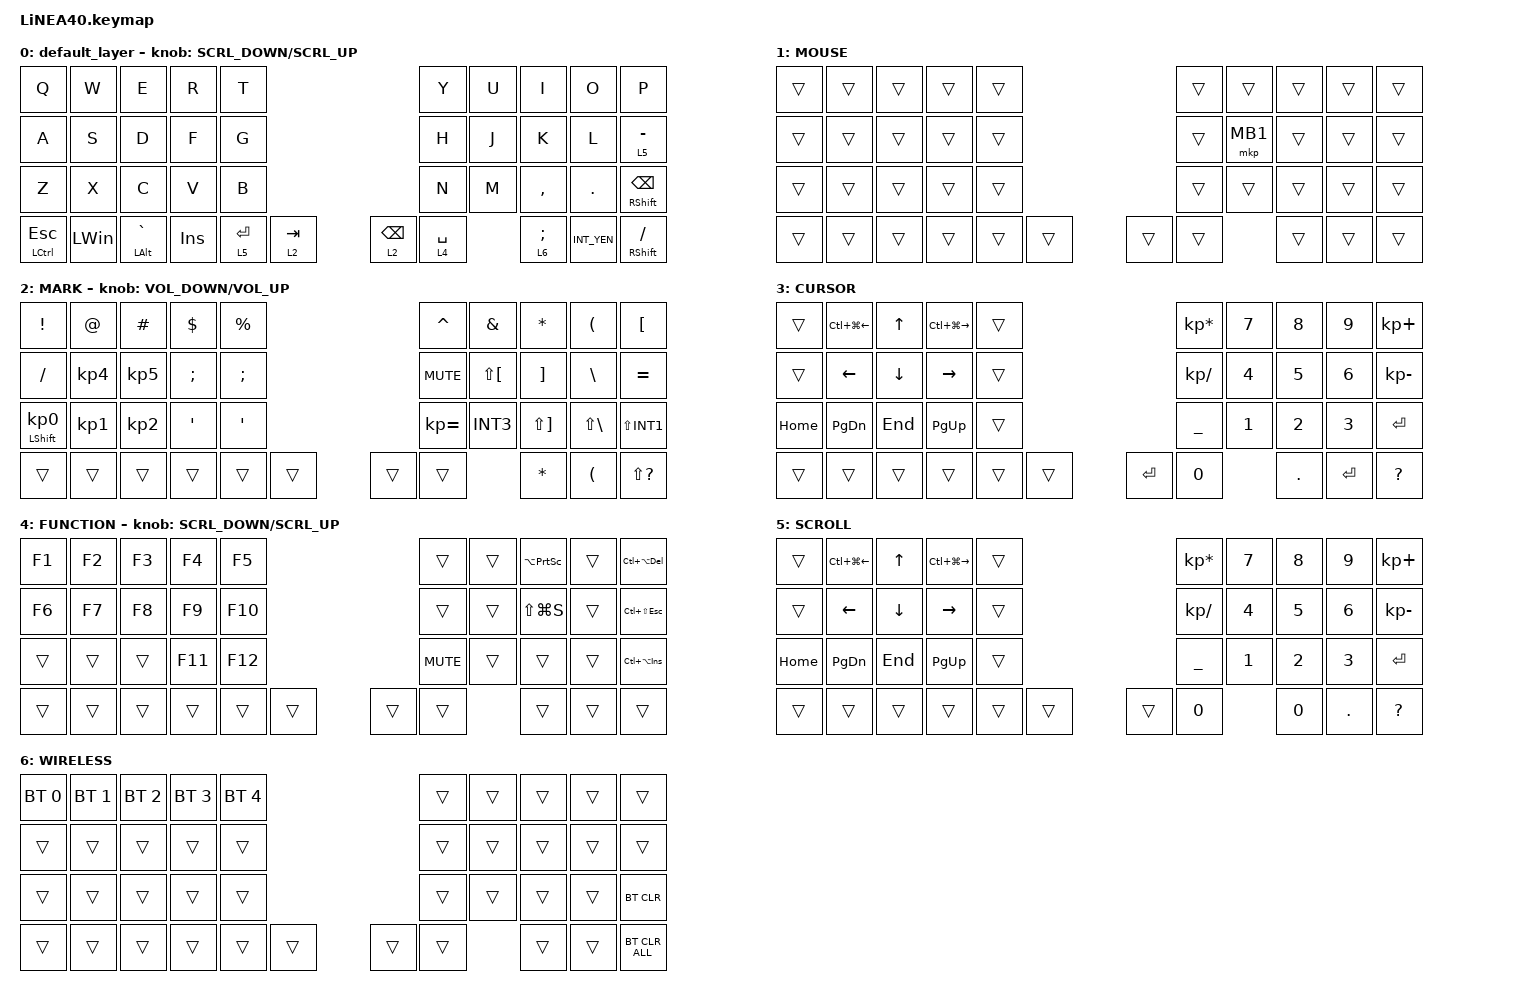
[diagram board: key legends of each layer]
#include <behaviors.dtsi>
#include <dt-bindings/zmk/bt.h>
#include <dt-bindings/zmk/pointing.h>
#include <dt-bindings/zmk/input_transform.h>
#include <input/processors.dtsi>
#include <zephyr/dt-bindings/input/input-event-codes.h>

#undef ZMK_POINTING_DEFAULT_SCRL_VAL
#define ZMK_POINTING_DEFAULT_SCRL_VAL 300 // ★ここを150➡300 くらいに増やしてください

#define MOUSE 1
#define MARK 2
#define CURSOR 3
#define FUNCTION 4
#define SCROLL 5
#define WIRELESS 6

// OS設定を日本語キーボードのまま使用するための変換定義
#define JP_DQUOTE       AT                // "
#define JP_AMPERSAND    CARET              // &
#define JP_QUOTE        AMPERSAND          // '
#define JP_EQUAL        UNDER              // =
#define JP_CARET        EQUAL              // ^
#define JP_YEN          0x89              // ¥
#define JP_PLUS         COLON              // +
#define JP_TILDE        PLUS              // ~
#define JP_PIPE         LS(0x89)          // |
#define JP_AT           LEFT_BRACKET      // @
#define JP_COLON        SINGLE_QUOTE      // :
#define JP_ASTERISK     DOUBLE_QUOTES     // *
#define JP_BACKQUOTE    LEFT_BRACE        // `
#define JP_UNDERSCORE   LS(0x87)          // _
#define JP_LBRACKET     RIGHT_BRACKET      // [
#define JP_RBRACKET     BACKSLASH          // ]
#define JP_LPAREN       ASTERISK          // (
#define JP_RPAREN       LEFT_PARENTHESIS  // )
#define JP_LBRACE       RIGHT_BRACE        // {
#define JP_RBRACE       PIPE              // }
#define JP_KANA         LANGUAGE_1        // かな
#define JP_EISU         LANGUAGE_2        // 英数
#define JP_HANZEN       GRAVE             // 半角/全角

//mouse cursol
&mmv {
    delay-ms = <20>;
    trigger-period-ms = <5>;
    time-to-max-speed-ms = <20>;
    acceleration-exponent = <1>;
};

//mouse scroll
// mouse scroll: Studioと干渉しにくい設定へ微調整
&msc {
    delay-ms = <0>;
    trigger-period-ms = <1>; 
    time-to-max-speed-ms = <0>; // 加速を排除
    acceleration-exponent = <0>;
};

/ {
    input_processors {
        zip_wheel_scaler: zip_wheel_scaler {
            compatible = "zmk,input-processor-scaler";
            #input-processor-cells = <2>;
            type = <INPUT_EV_REL>;
            codes = <INPUT_REL_WHEEL>, <INPUT_REL_HWHEEL>; // 垂直・水平両方対象
            //track-remainders; //端数の持越し
        };

        /* 最終出口でスクロールを1/12に薄めるプロセッサ */
        scroll_final_filter: scroll_final_filter {
            compatible = "zmk,input-processor-scaler";
            #input-processor-cells = <2>;
            type = <INPUT_EV_REL>;
            codes = <INPUT_REL_WHEEL>, <INPUT_REL_HWHEEL>; // スクロール信号のみ対象
            /* track-remainders; をあえて削除します */
            /* これにより、微細なゴミ信号を捨て、リアルタイムな応答性を優先します */
        };
    };
};

/* 一旦コメントアウト
&msc_input_listener {
    speed_up {
        layers = <FUNCTION>;
        input-processors = <&zip_wheel_scaler 3 1>; //スクロールを3倍速にする
    };
};
*/

&trackball_peripheral {
    input-processors = <&zip_xy_transform INPUT_TRANSFORM_Y_INVERT>;
};


&trackball_listener {
    status = "okay"; // ★リスナーを有効化して .keymap の設定を反映させる

    /* GUIが作った信号も含め、全てのスクロール信号を最後に1/12にする */
    /* 1 12 ではなく 1 1 (等倍) にして、調整はDYA Studioに任せる */
    input-processors = <&scroll_final_filter 1 1>;

    scroller {
        layers = <5>; 
        input-processors = <&zip_xy_to_scroll_mapper>;
    };
};


/ {
    /* DYA Studio 用のエンコーダープロセッサ定義（左右共通） */
        left_encoder_proc: left_encoder_proc {
            compatible = "zmk,behavior-runtime-sensor-rotate";
            #sensor-binding-cells = <0>;
        };

        combos {
        compatible = "zmk,combos";

        ZenkakuHankaku {
            bindings = <&kp GRAVE>;
            key-positions = <11 12>;
        };

        DeleteKey {
            bindings = <&kp DEL>;
            key-positions = <7 8>;
        };

        InsertKey {
            bindings = <&kp INS>;
            key-positions = <6 7>;
        };

        CenterClick {
            bindings = <&mkp MB3>;
            key-positions = <17 16>;
        };

        RightClick {
            bindings = <&mkp MB2>;
            key-positions = <18 17>;
        };

        PrevClick {
            bindings = <&mkp MB4>;
            key-positions = <27 28>;
        };

        ClickNext {
            bindings = <&mkp MB5>;
            key-positions = <26 27>;
        };

    };

    behaviors {
        re_kp: sensor_rotate_kp {
            compatible = "zmk,behavior-sensor-rotate-var";
            #sensor-binding-cells = <2>;
            /* 1ノッチで &msc を「3回」連続発行する力技です */
            bindings = <&msc SCRL_DOWN &msc SCRL_DOWN &msc SCRL_DOWN>, 
                       <&msc SCRL_UP &msc SCRL_UP &msc SCRL_UP>;
        };

        mouse_scrl: mouse_wheel_scrl {
            compatible = "zmk,behavior-sensor-rotate-var";
            #sensor-binding-cells = <2>;
            /* SCRL_2D を使い、OSの「行」という概念を飛び越えて、
               ダイレクトに「移動ピクセル数」に近い信号を叩き込みます。
               第1引数(0)は水平、第2引数(1200)が垂直方向の移動量です。 */
            //bindings = <&msc SCRL_2D(0,1200)>, <&msc SCRL_2D(0,-1200)>;
            bindings = <&msc>, <&msc>;
            //tap-ms = <20>;
            tap-ms = <0>;
        };
    };

    keymap {
        compatible = "zmk,keymap";

        default_layer {
            bindings = <
                &kp Q          &kp W         &kp E                &kp R    &kp T                                    &kp Y        &kp U     &kp I            &kp O        &kp P
                &kp A          &kp S         &kp D                &kp F    &kp G                                    &kp H        &kp J     &kp K            &kp L        &lt 5 MINUS
                &kp Z          &kp X         &kp C                &kp V    &kp B                                    &kp N        &kp M     &kp COMMA        &kp DOT      &mt RIGHT_SHIFT BACKSPACE
                &mt LCTRL ESC  &kp LEFT_WIN  &mt LEFT_ALT GRAVE  &kp INS  &lt 5 ENTER  &lt 2 TAB  &lt 2 BACKSPACE  &lt 4 SPACE            &lt 6 SEMICOLON  &kp INT_YEN  &mt RIGHT_SHIFT SLASH
            >;
            sensor-bindings = <&mouse_scrl SCRL_DOWN SCRL_UP>; 
            // ※ &left_encoder_proc から変更。これで behaviors の mouse_scrl が動き出します。
        };

        //1
        MOUSE {
            bindings = <
                &trans  &trans  &trans  &trans  &trans                    &trans  &trans    &trans  &trans  &trans
                &trans  &trans  &trans  &trans  &trans                    &trans  &mkp MB1  &trans  &trans  &trans
                &trans  &trans  &trans  &trans  &trans                    &trans  &trans    &trans  &trans  &trans
                &trans  &trans  &trans  &trans  &trans  &trans    &trans  &trans            &trans  &trans  &trans
            >;
        };

        //2
        MARK {
            bindings = <
                &kp EXCLAMATION             &kp AT           &kp HASH         &kp DOLLAR     &kp PERCENT                                          &kp CARET     &kp AMPERSAND  &kp ASTERISK           &kp LEFT_PARENTHESIS  &kp LBKT
                &kp SLASH                   &kp KP_NUMBER_4  &kp KP_NUMBER_5  &kp SEMICOLON  &kp SEMICOLON                                        &kp C_MUTE    &kp LS(LBKT)   &kp RIGHT_BRACKET      &kp BACKSLASH         &kp EQUAL
                &mt LEFT_SHIFT KP_NUMBER_0  &kp KP_NUMBER_1  &kp KP_NUMBER_2  &kp APOS       &kp SQT                                              &kp KP_EQUAL  &kp INT3       &kp LS(RIGHT_BRACKET)  &kp LS(BACKSLASH)     &kp LS(INT1)
                &trans                      &trans           &trans           &trans         &trans         &trans          &trans                &trans                       &kp ASTERISK           &kp LEFT_PARENTHESIS  &kp LS(QUESTION)
            >;
            sensor-bindings = <&re_kp C_VOLUME_DOWN C_VOLUME_UP>;
        };

        //3
        CURSOR {
            bindings = <
                &trans    &kp LC(LG(LEFT_ARROW))  &kp UP_ARROW  &kp LC(LG(RIGHT_ARROW))  &trans                       &kp KP_MULTIPLY  &kp NUMBER_7  &kp NUMBER_8  &kp NUMBER_9  &kp KP_PLUS
                &trans    &kp LEFT_ARROW          &kp DOWN      &kp RIGHT_ARROW          &trans                       &kp KP_SLASH     &kp NUMBER_4  &kp NUMBER_5  &kp NUMBER_6  &kp KP_MINUS
                &kp HOME  &kp PAGE_DOWN           &kp END       &kp PAGE_UP              &trans                       &kp UNDER        &kp NUMBER_1  &kp NUMBER_2  &kp NUMBER_3  &kp ENTER
                &trans    &trans                  &trans        &trans                   &trans  &trans    &kp ENTER  &kp NUMBER_0                   &kp DOT       &kp ENTER     &kp QUESTION
            >;
        };

        //4
        FUNCTION {
            bindings = <
                &kp F1  &kp F2  &kp F3  &kp F4   &kp F5                       &trans      &trans  &kp LA(PRINTSCREEN)  &trans  &kp LC(LA(DELETE))
                &kp F6  &kp F7  &kp F8  &kp F9   &kp F10                      &trans      &trans  &kp LS(LG(S))        &trans  &kp LC(LS(ESCAPE))
                &trans  &trans  &trans  &kp F11  &kp F12                      &kp C_MUTE  &trans  &trans               &trans  &kp LC(LA(INS))
                &trans  &trans  &trans  &trans   &trans   &trans   &trans   &trans              &trans               &trans  &trans
            >;
            sensor-bindings = <&mouse_scrl SCRL_DOWN SCRL_UP>;
        };

        //5
        SCROLL {
             bindings = <
                &trans    &kp LC(LG(LEFT_ARROW))  &kp UP_ARROW  &kp LC(LG(RIGHT_ARROW))  &trans                       &kp KP_MULTIPLY  &kp NUMBER_7  &kp NUMBER_8  &kp NUMBER_9  &kp KP_PLUS
                &trans    &kp LEFT_ARROW          &kp DOWN      &kp RIGHT_ARROW          &trans                       &kp KP_SLASH     &kp NUMBER_4  &kp NUMBER_5  &kp NUMBER_6  &kp KP_MINUS
                &kp HOME  &kp PAGE_DOWN           &kp END       &kp PAGE_UP              &trans                       &kp UNDER        &kp NUMBER_1  &kp NUMBER_2  &kp NUMBER_3  &kp ENTER
                &trans    &trans                  &trans        &trans                   &trans  &trans    &trans  &kp NUMBER_0                   &kp NUMBER_0  &kp DOT       &kp QUESTION
            >;
        };

        //6
        WIRELESS {
            bindings = <
                &bt BT_SEL 0  &bt BT_SEL 1  &bt BT_SEL 2  &bt BT_SEL 3  &bt BT_SEL 4                 &trans &trans &trans &trans &trans
                &trans        &trans        &trans        &trans        &trans                       &trans &trans &trans &trans &trans
                &trans        &trans        &trans        &trans        &trans                       &trans &trans &trans &trans &bt BT_CLR
                &trans        &trans        &trans        &trans        &trans        &trans  &trans &trans        &trans &trans &bt BT_CLR_ALL
            >;
        };
    };
};
